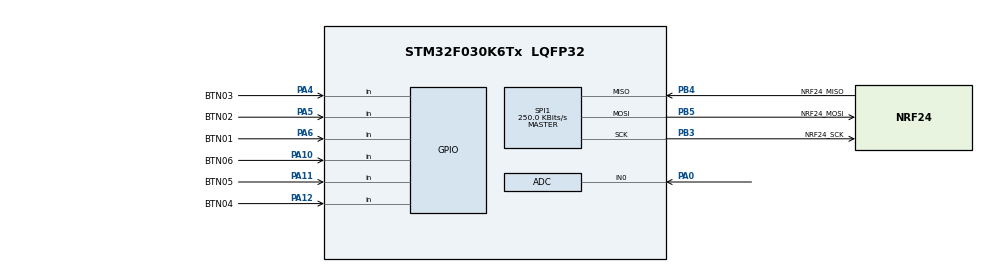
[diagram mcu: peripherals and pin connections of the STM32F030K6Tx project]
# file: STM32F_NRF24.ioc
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Mcu.Family=STM32F0
Mcu.Name=STM32F030K6Tx
Mcu.Package=LQFP32
PA0.Mode=IN0
PA0.Signal=ADC_IN0
PA10.GPIO_Label=BTN06
PA10.Signal=GPIO_Input
PA11.GPIO_Label=BTN05
PA11.Signal=GPIO_Input
PA12.GPIO_Label=BTN04
PA12.Signal=GPIO_Input
PA4.GPIO_Label=BTN03
PA4.Signal=GPIO_Input
PA5.GPIO_Label=BTN02
PA5.Signal=GPIO_Input
PA6.GPIO_Label=BTN01
PA6.Signal=GPIO_Input
PB3.GPIO_Label=NRF24_SCK
PB3.Mode=Full_Duplex_Master
PB3.Signal=SPI1_SCK
PB4.GPIO_Label=NRF24_MISO
PB4.Mode=Full_Duplex_Master
PB4.Signal=SPI1_MISO
PB5.GPIO_Label=NRF24_MOSI
PB5.Mode=Full_Duplex_Master
PB5.Signal=SPI1_MOSI
ProjectManager.HeapSize=0x200
ProjectManager.StackSize=0x400
ProjectManager.TargetToolchain=STM32CubeIDE
SPI1.BaudRatePrescaler=SPI_BAUDRATEPRESCALER_32
SPI1.CalculateBaudRate=250.0 KBits/s
SPI1.DataSize=SPI_DATASIZE_8BIT
SPI1.Direction=SPI_DIRECTION_2LINES
SPI1.Mode=SPI_MODE_MASTER
SPI1.VirtualType=VM_MASTER
board=custom

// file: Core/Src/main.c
/* USER CODE BEGIN Header */
/**
  ******************************************************************************
  * @file           : main.c
  * @brief          : Main program body
  ******************************************************************************
  * @attention
  *
  * Copyright (c) 2022 STMicroelectronics.
  * All rights reserved.
  *
  * This software is licensed under terms that can be found in the LICENSE file
  * in the root directory of this software component.
  * If no LICENSE file comes with this software, it is provided AS-IS.
  *
  ******************************************************************************
  */
/* USER CODE END Header */
#include "main.h"
#include "lcd_n1202.h"
#include "nrf24.h"

/* USER CODE BEGIN PD */

/* BUTTONS GPIO */
#define BTN01	GPIO_PIN_6
#define BTN02	GPIO_PIN_5
#define BTN03	GPIO_PIN_4
#define BTN04	GPIO_PIN_12
#define BTN05	GPIO_PIN_11
#define BTN06	GPIO_PIN_10
#define BTN		GPIOA

/* DATA LENGTH */
#define DLEN	3	//Data Length for TX and RX

/* USER CODE END PD */

ADC_HandleTypeDef hadc;

SPI_HandleTypeDef hspi1;

/* USER CODE BEGIN PV */

/* RX and TX Variables */
uint8_t RFmode;
uint8_t RXaddr[] = {0xEE,0xDD,0xCC,0xBB,0xAA};	//RX Address
uint8_t RXdat[4];	//RX Data
uint8_t TXaddr[] = {0xEE,0xDD,0xCC,0xBB,0xAA};	//TX Address
uint8_t TXdat[4];	//TX Data

/* Button Variables */
uint16_t BTNseq[6] = {BTN01,BTN02,BTN03,BTN04,BTN05,BTN06}; //Buttons bit sequence/position
uint8_t btns; //for indexing Buttons

/* ADC Variable */
uint16_t adcv; //for containing ADC value

/* USER CODE END PV */

void SystemClock_Config(void);
static void MX_GPIO_Init(void);
static void MX_ADC_Init(void);
static void MX_SPI1_Init(void);
/* USER CODE BEGIN PFP */

/* Check Button Function */
uint8_t checkbtn(uint16_t cbtn); //Check if any button is pressed

/* Get ADC Value Function */
uint16_t getADCvalue();

/* USER CODE END PFP */

int main(void)
{

  /* MCU Configuration--------------------------------------------------------*/

  /* Reset of all peripherals, Initializes the Flash interface and the Systick. */
  HAL_Init();

  /* Configure the system clock */
  SystemClock_Config();

  /* Initialize all configured peripherals */
  MX_GPIO_Init();
  MX_ADC_Init();
  MX_SPI1_Init();
  lcdn1202_init();
  NRF24_init();
  /* USER CODE BEGIN 2 */
  if(HAL_GPIO_ReadPin(BTN, BTN01)==GPIO_PIN_SET) //If Button 1 is pressed -> TX Mode
  {
	  RFmode = 1;
	  LCD_drawtext("TX MODE", 1, 16);
	  NRF24_TXmode(10, TXaddr);	//Use Channel 10
  }
  else	//If Button 1 is not pressed -> RX Mode
  {
	  RFmode = 0;
	  LCD_drawtext("RX MODE", 1, 16);
	  NRF24_RXmode(10, 1, RXaddr, DLEN); //Use Channel 10 and Pipe 1. Payload size = data length
  }
  /* USER CODE END 2 */

  /* Infinite loop */
  while (1)
  {
	  if(RFmode==1)
	  {
		  	  TXdat[0] = 0;
		  	  for(btns=0;btns<6;btns++) //Check all button
		  	  {
	  	  			  if(checkbtn(BTNseq[btns])==1) //Check if a button is pressed
	  	  			  {
	  	  				  TXdat[0] = TXdat[0] | 1<<btns; //Update buttons data
	  	  			  }
	  	  			  else{}
		  	  }

		  	  adcv = getADCvalue();		//Get ADC Value
		  	  TXdat[1] = adcv >> 8;		//ADC Upper Byte
		  	  TXdat[2] = adcv & 0x00FF;	//ADC Lower Byte

		  	  if(NRF24_TX(TXdat,DLEN)==1) //Send all payload data
	  	  	  {
	  	  			  LCD_drawtext("Transmit...", 3, 0);
	  	  			  LCD_drawint(TXdat[0], 5, 0);	//Display Buttons State Data
	  	  			  LCD_drawint(TXdat[1], 5, 32);	//Display ADC Upper Byte
	  	  			  LCD_drawint(TXdat[2], 5, 64);	//Display ADC Lower Byte
	  	  	  }
	  	  	  else{}

		  	  HAL_Delay(200);
		  	  LCD_clearblock(3,0,95);
		  	  LCD_clearblock(5,0,95);
	  }
	  else
	  {
	  	  	  if(NRF24_checkpipe(1)==1)	//Check if any data in Pipe 1
	  	  	  {
	  	  	  		  NRF24_RX(RXdat,DLEN);	//Receive data
	  	  	  		  LCD_drawint(RXdat[0], 3, 0);	//Display Buttons State Data
	  	  	  		  LCD_drawint(RXdat[1], 3, 32);	//Display ADC Upper Byte
	  	  	  		  LCD_drawint(RXdat[2], 3, 64);	//Display ADC Lower Byte
	  	  	  		  adcv = (RXdat[1] << 8) | RXdat[2];	//Get ADC Value

	  	  	  		  for(btns=0;btns<6;btns++)
	  	  	  		  {
	  	  	  			  if((RXdat[0])&0x01) //Check buttons state bit
	  	  	  			  {
	  	  	  				LCD_drawint((btns+1), 4, (btns*12)+12);	//Display pressed buttons
	  	  	  			  }
	  	  	  			  RXdat[0] = RXdat[0]>>1;
	  	  	  		  }

	  	  	  		LCD_drawtext("ADC : ", 6, 0);
	  	  	  		LCD_drawint(adcv, 6, 48);
	  	  	  }
	  	  	  else{}

	  	  	  HAL_Delay(200);
	  	  	  LCD_clearblock(3,0,95);
	  	  	  LCD_clearblock(4,12,83);
	  	  	  LCD_clearblock(6,0,95);
	  }
  }
}

void SystemClock_Config(void)
{
  RCC_OscInitTypeDef RCC_OscInitStruct = {0};
  RCC_ClkInitTypeDef RCC_ClkInitStruct = {0};

  /** Initializes the RCC Oscillators according to the specified parameters
  * in the RCC_OscInitTypeDef structure.
  */
  RCC_OscInitStruct.OscillatorType = RCC_OSCILLATORTYPE_HSI|RCC_OSCILLATORTYPE_HSI14;
  RCC_OscInitStruct.HSIState = RCC_HSI_ON;
  RCC_OscInitStruct.HSI14State = RCC_HSI14_ON;
  RCC_OscInitStruct.HSICalibrationValue = RCC_HSICALIBRATION_DEFAULT;
  RCC_OscInitStruct.HSI14CalibrationValue = 16;
  RCC_OscInitStruct.PLL.PLLState = RCC_PLL_NONE;
  if (HAL_RCC_OscConfig(&RCC_OscInitStruct) != HAL_OK)
  {
    Error_Handler();
  }
  /** Initializes the CPU, AHB and APB buses clocks
  */
  RCC_ClkInitStruct.ClockType = RCC_CLOCKTYPE_HCLK|RCC_CLOCKTYPE_SYSCLK
                              |RCC_CLOCKTYPE_PCLK1;
  RCC_ClkInitStruct.SYSCLKSource = RCC_SYSCLKSOURCE_HSI;
  RCC_ClkInitStruct.AHBCLKDivider = RCC_SYSCLK_DIV1;
  RCC_ClkInitStruct.APB1CLKDivider = RCC_HCLK_DIV1;

  if (HAL_RCC_ClockConfig(&RCC_ClkInitStruct, FLASH_LATENCY_0) != HAL_OK)
  {
    Error_Handler();
  }
}

static void MX_ADC_Init(void)
{

  ADC_ChannelConfTypeDef sConfig = {0};

  /** Configure the global features of the ADC (Clock, Resolution, Data Alignment and number of conversion)
  */
  hadc.Instance = ADC1;
  hadc.Init.ClockPrescaler = ADC_CLOCK_ASYNC_DIV1;
  hadc.Init.Resolution = ADC_RESOLUTION_12B;
  hadc.Init.DataAlign = ADC_DATAALIGN_RIGHT;
  hadc.Init.ScanConvMode = ADC_SCAN_DIRECTION_FORWARD;
  hadc.Init.EOCSelection = ADC_EOC_SINGLE_CONV;
  hadc.Init.LowPowerAutoWait = DISABLE;
  hadc.Init.LowPowerAutoPowerOff = DISABLE;
  hadc.Init.ContinuousConvMode = DISABLE;
  hadc.Init.DiscontinuousConvMode = DISABLE;
  hadc.Init.ExternalTrigConv = ADC_SOFTWARE_START;
  hadc.Init.ExternalTrigConvEdge = ADC_EXTERNALTRIGCONVEDGE_NONE;
  hadc.Init.DMAContinuousRequests = DISABLE;
  hadc.Init.Overrun = ADC_OVR_DATA_PRESERVED;
  if (HAL_ADC_Init(&hadc) != HAL_OK)
  {
    Error_Handler();
  }
  /** Configure for the selected ADC regular channel to be converted.
  */
  sConfig.Channel = ADC_CHANNEL_0;
  sConfig.Rank = ADC_RANK_CHANNEL_NUMBER;
  sConfig.SamplingTime = ADC_SAMPLETIME_1CYCLE_5;
  if (HAL_ADC_ConfigChannel(&hadc, &sConfig) != HAL_OK)
  {
    Error_Handler();
  }

}

static void MX_SPI1_Init(void)
{

  /* SPI1 parameter configuration*/
  hspi1.Instance = SPI1;
  hspi1.Init.Mode = SPI_MODE_MASTER;
  hspi1.Init.Direction = SPI_DIRECTION_2LINES;
  hspi1.Init.DataSize = SPI_DATASIZE_8BIT;
  hspi1.Init.CLKPolarity = SPI_POLARITY_LOW;
  hspi1.Init.CLKPhase = SPI_PHASE_1EDGE;
  hspi1.Init.NSS = SPI_NSS_SOFT;
  hspi1.Init.BaudRatePrescaler = SPI_BAUDRATEPRESCALER_32;
  hspi1.Init.FirstBit = SPI_FIRSTBIT_MSB;
  hspi1.Init.TIMode = SPI_TIMODE_DISABLE;
  hspi1.Init.CRCCalculation = SPI_CRCCALCULATION_DISABLE;
  hspi1.Init.CRCPolynomial = 7;
  hspi1.Init.CRCLength = SPI_CRC_LENGTH_DATASIZE;
  hspi1.Init.NSSPMode = SPI_NSS_PULSE_ENABLE;
  if (HAL_SPI_Init(&hspi1) != HAL_OK)
  {
    Error_Handler();
  }

}

static void MX_GPIO_Init(void)
{
  GPIO_InitTypeDef GPIO_InitStruct = {0};

  /* GPIO Ports Clock Enable */
  __HAL_RCC_GPIOA_CLK_ENABLE();
  __HAL_RCC_GPIOB_CLK_ENABLE();

  /*Configure GPIO pins : BTN03_Pin BTN02_Pin BTN01_Pin BTN06_Pin
                           BTN05_Pin BTN04_Pin */
  GPIO_InitStruct.Pin = BTN03_Pin|BTN02_Pin|BTN01_Pin|BTN06_Pin
                          |BTN05_Pin|BTN04_Pin;
  GPIO_InitStruct.Mode = GPIO_MODE_INPUT;
  GPIO_InitStruct.Pull = GPIO_NOPULL;
  HAL_GPIO_Init(GPIOA, &GPIO_InitStruct);

}

/* USER CODE BEGIN 4 */
uint8_t checkbtn(uint16_t cbtn)
{
	uint8_t sbtn;

	if(HAL_GPIO_ReadPin(BTN, cbtn)==GPIO_PIN_SET) //Check if Button is pressed
	{
		sbtn = 1; //Return 1
	}
	else sbtn = 0;

	return sbtn;
}

uint16_t getADCvalue()
{
	uint16_t adcval;

	HAL_ADC_Start(&hadc);
	if (HAL_ADC_PollForConversion(&hadc, 1000) == HAL_OK)
	{
		adcval = HAL_ADC_GetValue(&hadc);
	}
	HAL_ADC_Stop(&hadc);

	return adcval;
}
/* USER CODE END 4 */

void Error_Handler(void)
{
  __disable_irq();
  while (1)
  {
  }
}
